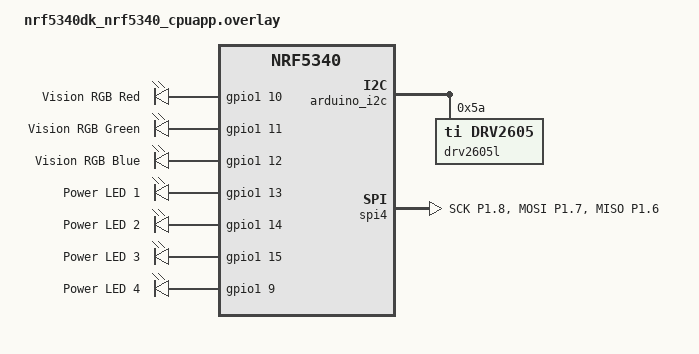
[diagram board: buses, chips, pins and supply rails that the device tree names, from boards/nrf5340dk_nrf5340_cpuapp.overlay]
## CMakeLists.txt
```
cmake_minimum_required(VERSION 3.20.0)

find_package(Zephyr REQUIRED HINTS $ENV{ZEPHYR_BASE})
project(vision_band)

target_sources(app PRIVATE
    src/main.c
    src/haptics.c
    src/rgb_led.c
    src/power_leds.c
    src/camera.c
    src/ble_service.c
)
```

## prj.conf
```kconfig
CONFIG_I2C=y

CONFIG_SPI=y

CONFIG_GPIO=y

CONFIG_SERIAL=y
CONFIG_CONSOLE=y
CONFIG_UART_CONSOLE=y

CONFIG_BT=y
CONFIG_BT_PERIPHERAL=y
CONFIG_BT_DEVICE_NAME="Vision Band"
CONFIG_BT_MAX_CONN=1

CONFIG_LOG=n

# Phase 6C: allow a 247-byte ATT MTU on the application-core host.
# Notification value payload is ATT_MTU - 3 bytes.
CONFIG_BT_L2CAP_TX_MTU=247
CONFIG_BT_BUF_ACL_RX_SIZE=251

# Phase 6C throughput: allow the host to queue multiple ACL packets
# instead of serializing the JPEG through a tiny default TX pool.
CONFIG_BT_BUF_ACL_TX_COUNT=10

# Expose PHY/data-length update APIs and bt_conn_cb callback members.
CONFIG_BT_USER_PHY_UPDATE=y
CONFIG_BT_USER_DATA_LEN_UPDATE=y

# Zephyr requires Event RX count > ACL TX count.
# ACL TX count is 10 for the Phase 6C streaming queue.
CONFIG_BT_BUF_EVT_RX_COUNT=11
```

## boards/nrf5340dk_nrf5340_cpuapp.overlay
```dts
&arduino_i2c {
	status = "okay";

	drv2605l: drv2605l@5a {
		compatible = "ti,drv2605";
		reg = <0x5a>;
		actuator-mode = "ERM";
	};
};

/ {
	aliases {
		vision-red = &vision_red;
		vision-green = &vision_green;
		vision-blue = &vision_blue;
		power-led1 = &power_led1;
		power-led2 = &power_led2;
		power-led3 = &power_led3;
		power-led4 = &power_led4;
	};

	leds {
		compatible = "gpio-leds";

		vision_red: vision_red {
			gpios = <&gpio1 10 GPIO_ACTIVE_HIGH>;
			label = "Vision RGB Red";
		};

		vision_green: vision_green {
			gpios = <&gpio1 11 GPIO_ACTIVE_HIGH>;
			label = "Vision RGB Green";
		};

		vision_blue: vision_blue {
			gpios = <&gpio1 12 GPIO_ACTIVE_HIGH>;
			label = "Vision RGB Blue";
		};
	};
	power_leds {
		compatible = "gpio-leds";

		power_led1: power_led_1 {
			gpios = <&gpio1 13 GPIO_ACTIVE_HIGH>;
			label = "Power LED 1";
		};

		power_led2: power_led_2 {
			gpios = <&gpio1 14 GPIO_ACTIVE_HIGH>;
			label = "Power LED 2";
		};

		power_led3: power_led_3 {
			gpios = <&gpio1 15 GPIO_ACTIVE_HIGH>;
			label = "Power LED 3";
		};

		power_led4: power_led_4 {
			gpios = <&gpio1 9 GPIO_ACTIVE_HIGH>;
			label = "Power LED 4";
		};
	};
};

&arduino_i2c {
	status = "okay";

	drv2605l: drv2605l@5a {
		compatible = "ti,drv2605";
		reg = <0x5a>;
		actuator-mode = "ERM";
	};
};
&pinctrl {
    camera_spi_default: camera_spi_default {
        group1 {
            psels = <NRF_PSEL(SPIM_SCK,  1, 8)>,
                    <NRF_PSEL(SPIM_MOSI, 1, 7)>,
                    <NRF_PSEL(SPIM_MISO, 1, 6)>;
        };
    };

    camera_spi_sleep: camera_spi_sleep {
        group1 {
            psels = <NRF_PSEL(SPIM_SCK,  1, 8)>,
                    <NRF_PSEL(SPIM_MOSI, 1, 7)>,
                    <NRF_PSEL(SPIM_MISO, 1, 6)>;
            low-power-enable;
        };
    };
};

&spi4 {
    compatible = "nordic,nrf-spim";
    status = "okay";

    pinctrl-0 = <&camera_spi_default>;
    pinctrl-1 = <&camera_spi_sleep>;
    pinctrl-names = "default", "sleep";

};
```

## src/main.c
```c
#include <zephyr/kernel.h>
#include <zephyr/sys/printk.h>
#include <zephyr/device.h>
#include <zephyr/drivers/gpio.h>

#include <stdbool.h>
#include <string.h>

#include "power_leds.h"
#include "rgb_led.h"
#include "camera.h"
#include "ble_service.h"
#include "haptics.h"


#define BUTTON_NODE DT_ALIAS(sw0)

static const struct gpio_dt_spec button =
    GPIO_DT_SPEC_GET(BUTTON_NODE, gpios);


#define POLL_MS               10
#define DEBOUNCE_MS           40
#define POWER_PROGRESS_MS     250
#define FULL_HOLD_MS          1500
#define RELEASE_DEBOUNCE_MS   120
#define POWER_ACTION_LOCKOUT_MS 400


static bool system_on = false;
static int64_t capture_lockout_until = 0;


static void wait_for_stable_button_release(void)
{
    int64_t released_at = 0;

    while (1) {

        if (!gpio_pin_get_dt(&button)) {

            if (released_at == 0) {
                released_at = k_uptime_get();
            }

            if ((k_uptime_get() - released_at) >= RELEASE_DEBOUNCE_MS) {
                return;
            }

        }
        else {
            released_at = 0;
        }

        k_msleep(POLL_MS);
    }
}


/*
 * ------------------------------------------------------------------
 * BLE connection-state callback.
 *
 * The RGB status LED is only allowed to show BLE state while the
 * logical Vision Band power state is ON.
 *
 * OFF   -> RGB off
 * ON + disconnected -> white
 * ON + connected    -> blue
 * ------------------------------------------------------------------
 */
static void handle_ble_connection_changed(bool connected)
{
    if (!system_on) {

        rgb_led_off();

        return;
    }


    if (connected) {

        rgb_led_blue();

        printk(
            "Status LED: BLUE (BLE connected)\n"
        );

        /*
         * Phase 6D:
         * Connection confirmation is queued to the dedicated haptic
         * worker thread. It never blocks the BLE callback.
         */
        (void)haptics_play(
            HAPTIC_EVENT_BLE_CONNECTED
        );
    }
    else {

        rgb_led_white();

        printk(
            "Status LED: WHITE (BLE disconnected)\n"
        );
    }
}



/*
 * ------------------------------------------------------------------
 * BLE -> product control bridge.
 *
 * Phase 7B return path:
 *
 * Windows/OpenAI
 *      -> CONTROL_RX "RESULT_READY"
 *      -> ble_service.c
 *      -> this callback
 *      -> asynchronous DRV2605L result-ready haptic
 *
 * This callback executes from the BLE receive context, so it only
 * queues haptic work and returns immediately.
 * ------------------------------------------------------------------
 */
static void handle_ble_command(
    const uint8_t *data,
    size_t length
)
{
    static const char result_ready_command[] =
        "RESULT_READY";


    if (
        length ==
            (sizeof(result_ready_command) - 1) &&
        memcmp(
            data,
            result_ready_command,
            sizeof(result_ready_command) - 1
        ) == 0
    ) {

        printk(
            "BLE command RESULT_READY received\n"
        );

        (void)haptics_play(
            HAPTIC_EVENT_RESULT_READY
        );

        return;
    }


    printk(
        "BLE product command not recognized (%u bytes)\n",
        (unsigned int)length
    );
}


/*
 * ------------------------------------------------------------------
 * Camera -> BLE transport bridge.
 *
 * Camera code knows nothing about GATT.
 * BLE code knows nothing about Arducam.
 * main.c connects the two subsystems.
 * ------------------------------------------------------------------
 */

static int camera_ble_begin(
    uint32_t fifo_length,
    void *context
)
{
    ARG_UNUSED(context);

    return ble_service_image_begin(
        fifo_length
    );
}


static int camera_ble_write(
    const uint8_t *data,
    size_t length,
    void *context
)
{
    ARG_UNUSED(context);

    return ble_service_image_send(
        data,
        length
    );
}


static int camera_ble_end(
    uint32_t jpeg_length,
    void *context
)
{
    ARG_UNUSED(context);

    return ble_service_image_end(
        jpeg_length
    );
}


/*
 * Called by camera.c only after autofocus + sensor capture are complete
 * and a valid JPEG exists in the Arducam FIFO, but before BLE upload.
 *
 * This haptic means exactly: "PHOTO CAPTURED — you can move now."
 */
static void camera_ble_capture_complete(
    void *context
)
{
    ARG_UNUSED(context);

    printk(
        "PHOTO CAPTURED: JPEG is ready in camera FIFO\n"
    );

    (void)haptics_play(
        HAPTIC_EVENT_PHOTO_CAPTURED
    );
}


static const struct camera_stream_sink ble_camera_sink = {
    .begin = camera_ble_begin,
    .write = camera_ble_write,
    .capture_complete = camera_ble_capture_complete,
    .end = camera_ble_end,
    .context = NULL
};


/*
 * ------------------------------------------------------------------
 * Capture one image only when the Vision Band is logically powered on.
 *
 * The camera itself is initialized once at boot. A short BUTTON1 press
 * while system_on == true performs:
 *
 *      autofocus -> one 5MP capture -> JPEG stream over BLE
 *
 * No boot-time capture is performed.
 * ------------------------------------------------------------------
 */
static void handle_short_press(void)
{
    int ret;

    if (k_uptime_get() < capture_lockout_until) {

        printk(
            "Short press ignored: power transition lockout\n"
        );

        return;
    }

    if (!system_on) {

        printk(
            "Short press ignored: system is OFF\n"
        );

        power_leds_off();
        rgb_led_off();

        return;
    }


    if (!ble_service_is_connected()) {

        printk(
            "Capture ignored: BLE central is not connected\n"
        );

        (void)haptics_play(
            HAPTIC_EVENT_ERROR
        );

        return;
    }


    if (!ble_service_image_ready()) {

        printk(
            "Capture ignored: BLE image receiver is not subscribed\n"
        );

        (void)haptics_play(
            HAPTIC_EVENT_ERROR
        );

        return;
    }


    /*
     * Keep the ON indicators asserted while the camera is working.
     */
    power_leds_all_on();
    rgb_led_blue();


    printk(
        "BUTTON1 short press: starting BLE camera capture\n"
    );

    ret =
        camera_capture_and_stream(
            &ble_camera_sink
        );

    if (ret < 0) {

        printk(
            "Camera capture/export failed: %d\n",
            ret
        );

        (void)haptics_play(
            HAPTIC_EVENT_ERROR
        );

        /*
         * The logical system remains ON even if a capture fails.
         */
        power_leds_all_on();

        if (ble_service_is_connected()) {

            rgb_led_blue();
        }
        else {

            rgb_led_white();
        }

        return;
    }


    printk(
        "Camera JPEG BLE transfer complete\n"
    );

    /*
     * Restore normal powered-on indicators.
     */
    power_leds_all_on();

    if (ble_service_is_connected()) {

        rgb_led_blue();
    }
    else {

        rgb_led_white();
    }
}


int main(void)
{
    int64_t press_start;
    int64_t held_ms;
    bool long_press_handled;


    /*
     * ==============================================================
     * Power LEDs
     * ==============================================================
     */

    if (power_leds_init() < 0) {

        printk(
            "Power LED init failed\n"
        );

        return 0;
    }


    /*
     * ==============================================================
     * RGB status LED
     * ==============================================================
     */

    if (rgb_led_init() < 0) {

        printk(
            "Status LED init failed\n"
        );

        return 0;
    }


    /*
     * ==============================================================
     * Haptics
     * ==============================================================
     *
     * The DRV2605L worker owns vibration timing on its own Zephyr
     * thread. Camera/BLE code only enqueue semantic haptic events.
     */

    if (haptics_init() < 0) {

        /*
         * Haptics are user feedback, not a prerequisite for camera/BLE
         * operation. Keep the rest of the Vision Band alive if the
         * motor driver is temporarily unavailable.
         */
        printk(
            "Haptics init failed; continuing without vibration\n"
        );
    }


    /*
     * ==============================================================
     * Camera initialization
     * ==============================================================
     *
     * Initialize the camera interface once at firmware startup.
     * Do NOT capture here.
     *
     * Actual image capture is triggered later by a short BUTTON1
     * press, and only while system_on == true.
     */

    if (camera_init() < 0) {

        printk(
            "Camera init failed\n"
        );

        return 0;
    }


    printk(
        "Camera interface initialized\n"
    );


    /*
     * ==============================================================
     * Bluetooth
     * ==============================================================
     */

    if (
        ble_service_init(
            handle_ble_connection_changed,
            handle_ble_command
        ) < 0
    ) {

        /*
         * BLE failure must not kill the button/camera runtime.
         * The Vision Band can still operate locally.
         */
        printk(
            "BLE init failed; continuing without BLE\n"
        );
    }


    /*
     * ==============================================================
     * Button
     * ==============================================================
     */

    if (!gpio_is_ready_dt(&button)) {

        printk(
            "Button device not ready\n"
        );

        return 0;
    }


    if (
        gpio_pin_configure_dt(
            &button,
            GPIO_INPUT
        ) < 0
    ) {

        printk(
            "Button configuration failed\n"
        );

        return 0;
    }


    /*
     * Initial logical system state.
     */
    system_on = false;

    power_leds_off();
    rgb_led_off();


    printk(
        "Vision Band controller ready\n"
    );

    printk(
        "System state: OFF\n"
    );

    printk(
        "Long press BUTTON1: power ON/OFF\n"
    );

    printk(
        "Short press BUTTON1 while ON: capture image\n"
    );


    /*
     * ==============================================================
     * Main runtime
     * ==============================================================
     */

    while (1) {


        if (gpio_pin_get_dt(&button)) {

            press_start =
                k_uptime_get();

            long_press_handled =
                false;


            /*
             * Button remains pressed.
             */
            while (
                gpio_pin_get_dt(&button)
            ) {

                held_ms =
                    k_uptime_get()
                    -
                    press_start;


                /*
                 * Do not start the power animation immediately.
                 *
                 * This prevents a normal short camera press from
                 * visibly draining/filling the power LEDs.
                 */
                if (
                    held_ms >=
                    POWER_PROGRESS_MS
                ) {

                    /*
                     * OFF -> fill LEDs.
                     */
                    if (!system_on) {

                        power_leds_show_power_on_progress(
                            held_ms
                        );
                    }

                    /*
                     * ON -> drain LEDs.
                     */
                    else {

                        power_leds_show_power_off_progress(
                            held_ms
                        );
                    }
                }


                /*
                 * Long press reached: toggle logical power state.
                 */
                if (
                    held_ms >=
                    FULL_HOLD_MS
                ) {

                    long_press_handled =
                        true;


                    if (!system_on) {

                        system_on =
                            true;

                        power_leds_all_on();
                        rgb_led_white();


                        printk(
                            "System state: ON\n"
                        );

                        printk(
                            "Camera short-press capture enabled\n"
                        );


                        /*
                         * Logical power ON is what makes the product
                         * discoverable/connectable over BLE.
                         */
                        if (
                            ble_service_start() < 0
                        ) {

                            printk(
                                "BLE could not start; local operation remains available\n"
                            );
                        }
                    }
                    else {

                        /*
                         * Set logical power OFF before requesting the
                         * BLE disconnect so its callback keeps the RGB
                         * LED off and does not restart advertising.
                         */
                        system_on =
                            false;


                        (void)ble_service_stop();


                        power_leds_off();
                        rgb_led_off();


                        printk(
                            "System state: OFF\n"
                        );

                        printk(
                            "Camera short-press capture disabled\n"
                        );
                    }


                    /*
                     * Do not let the release/bounce from a power hold
                     * become a camera short press.
                     */
                    wait_for_stable_button_release();

                    capture_lockout_until =
                        k_uptime_get()
                        +
                        POWER_ACTION_LOCKOUT_MS;


                    break;
                }


                k_msleep(
                    POLL_MS
                );
            }


            /*
             * If the press did not become a long press, it is a
             * short-press action.
             */
            if (!long_press_handled) {

                held_ms =
                    k_uptime_get()
                    -
                    press_start;


                /*
                 * Ignore switch bounce / accidental ultra-short pulses.
                 */
                if (
                    held_ms >=
                    DEBOUNCE_MS
                ) {

                    handle_short_press();
                }
                else {

                    /*
                     * Restore whichever visual state was active.
                     */
                    if (system_on) {

                        power_leds_all_on();

                        if (ble_service_is_connected()) {

                            rgb_led_blue();
                        }
                        else {

                            rgb_led_white();
                        }
                    }
                    else {

                        power_leds_off();
                        rgb_led_off();
                    }
                }
            }


            /*
             * Small post-release debounce.
             */
            k_msleep(
                50
            );
        }


        k_msleep(
            POLL_MS
        );
    }


    return 0;
}
```

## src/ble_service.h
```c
#ifndef BLE_SERVICE_H
#define BLE_SERVICE_H

#include <stdbool.h>
#include <stddef.h>
#include <stdint.h>

/*
 * Product-level callbacks.
 *
 * ble_service.c owns the BLE protocol only. Product behaviors such as
 * LEDs and haptics remain in main.c.
 */
typedef void (*ble_connection_changed_cb_t)(bool connected);

typedef void (*ble_command_received_cb_t)(
    const uint8_t *data,
    size_t length
);

int ble_service_init(
    ble_connection_changed_cb_t connection_changed_cb,
    ble_command_received_cb_t command_received_cb
);

int ble_service_start(void);

int ble_service_stop(void);

bool ble_service_is_connected(void);

bool ble_service_is_active(void);

/*
 * True only when the central is connected AND subscribed to the
 * dedicated image notification characteristic.
 */
bool ble_service_image_ready(void);

/*
 * Phase 6C image transport.
 *
 * Protocol on IMAGE_TX:
 *
 *   0x01 + uint32_le fifo_length
 *       image start
 *
 *   0x02 + uint32_le sequence + JPEG bytes
 *       image data
 *
 *   0x03 + uint32_le jpeg_length + uint32_le packet_count
 *       image end
 */
int ble_service_image_begin(
    uint32_t fifo_length
);

int ble_service_image_send(
    const uint8_t *data,
    size_t length
);

int ble_service_image_end(
    uint32_t jpeg_length
);

#endif
```

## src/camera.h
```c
#ifndef CAMERA_H
#define CAMERA_H

#include <stddef.h>
#include <stdint.h>

struct camera_stream_sink {
    int (*begin)(
        uint32_t fifo_length,
        void *context
    );

    int (*write)(
        const uint8_t *data,
        size_t length,
        void *context
    );

    /*
     * Optional event hook fired after autofocus + sensor capture are
     * complete and a valid JPEG is present in the Arducam FIFO, but
     * BEFORE BLE transport starts.
     *
     * This is the correct point for the wearable's "photo captured"
     * haptic: the user can stop holding the camera still, while JPEG
     * transmission continues independently.
     */
    void (*capture_complete)(
        void *context
    );

    int (*end)(
        uint32_t jpeg_length,
        void *context
    );

    void *context;
};

int camera_init(void);

int camera_capture_test(void);

/*
 * Legacy COM4 debug path retained for bench diagnostics.
 */
int camera_dump_jpeg_binary(void);

int camera_capture_and_dump(void);

/*
 * Capture one high-quality 5MP JPEG and stream it through a
 * transport-independent sink.
 *
 * The camera layer:
 *   autofocuses
 *   captures
 *   reads the Arducam FIFO
 *   strips FIFO padding after JPEG FF D9
 *
 * The transport layer decides what to do with the JPEG bytes.
 */
int camera_capture_and_stream(
    const struct camera_stream_sink *sink
);

#endif
```

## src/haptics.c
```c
#include <zephyr/kernel.h>
#include <zephyr/device.h>
#include <zephyr/devicetree.h>
#include <zephyr/drivers/i2c.h>
#include <zephyr/sys/printk.h>

#include <errno.h>
#include <stdbool.h>
#include <stdint.h>

#include "haptics.h"


/*
 * ------------------------------------------------------------------
 * DRV2605L hardware binding
 * ------------------------------------------------------------------
 *
 * Existing Vision Band overlay:
 *
 * &arduino_i2c {
 *     status = "okay";
 *
 *     drv2605l: drv2605l@5a {
 *         compatible = "ti,drv2605";
 *         reg = <0x5a>;
 *         actuator-mode = "ERM";
 *     };
 * };
 *
 * SDA = P1.02
 * SCL = P1.03
 */
#define DRV2605_NODE DT_NODELABEL(drv2605l)

#if !DT_NODE_EXISTS(DRV2605_NODE)
#error "Vision Band DRV2605L Devicetree node 'drv2605l' is missing"
#endif

static const struct i2c_dt_spec drv2605 =
    I2C_DT_SPEC_GET(DRV2605_NODE);


/*
 * ------------------------------------------------------------------
 * DRV2605L registers used by the already-validated Vision Band RTP path
 * ------------------------------------------------------------------
 */
#define DRV2605_REG_STATUS       0x00
#define DRV2605_REG_MODE         0x01
#define DRV2605_REG_RTP_INPUT    0x02

#define DRV2605_MODE_RTP         0x05

/*
 * Previously validated ERM drive level on the Vision Band prototype.
 */
#define HAPTIC_RTP_LEVEL         0x7F


/*
 * ------------------------------------------------------------------
 * Product haptic timings
 * ------------------------------------------------------------------
 */
#define HAPTIC_CONNECT_MS        100
#define HAPTIC_CAPTURE_MS        150
#define HAPTIC_SUCCESS_MS        150
#define HAPTIC_SUCCESS_GAP_MS    100
#define HAPTIC_RESULT_MS         250
#define HAPTIC_ERROR_MS          500


/*
 * ------------------------------------------------------------------
 * Dedicated asynchronous haptic worker
 * ------------------------------------------------------------------
 *
 * The queue is deliberately small. Haptic feedback is product-state
 * feedback, not a data stream. The worker owns all vibration sleeps so
 * the main camera/BLE path remains free to sustain the 6C.5 throughput.
 */
K_MSGQ_DEFINE(
    haptic_event_queue,
    sizeof(enum haptics_event),
    8,
    4
);

K_THREAD_STACK_DEFINE(
    haptic_worker_stack,
    1024
);

static struct k_thread haptic_worker_thread;

static bool haptics_ready = false;


/*
 * ------------------------------------------------------------------
 * Low-level RTP helpers
 * ------------------------------------------------------------------
 */

static int drv2605_set_rtp(
    uint8_t level
)
{
    return i2c_reg_write_byte_dt(
        &drv2605,
        DRV2605_REG_RTP_INPUT,
        level
    );
}


static int haptic_pulse(
    uint32_t duration_ms
)
{
    int ret;


    ret =
        drv2605_set_rtp(
            HAPTIC_RTP_LEVEL
        );

    if (ret < 0) {

        printk(
            "Haptics: RTP start failed: %d\n",
            ret
        );

        return ret;
    }


    k_msleep(
        duration_ms
    );


    ret =
        drv2605_set_rtp(
            0x00
        );

    if (ret < 0) {

        printk(
            "Haptics: RTP stop failed: %d\n",
            ret
        );

        return ret;
    }


    return 0;
}


static void play_event(
    enum haptics_event event
)
{
    switch (event) {


        case HAPTIC_EVENT_BLE_CONNECTED:

            (void)haptic_pulse(
                HAPTIC_CONNECT_MS
            );

            break;


        case HAPTIC_EVENT_PHOTO_CAPTURED:

            (void)haptic_pulse(
                HAPTIC_CAPTURE_MS
            );

            break;


        case HAPTIC_EVENT_IMAGE_SENT:

            (void)haptic_pulse(
                HAPTIC_SUCCESS_MS
            );

            k_msleep(
                HAPTIC_SUCCESS_GAP_MS
            );

            (void)haptic_pulse(
                HAPTIC_SUCCESS_MS
            );

            break;


        /*
         * Reserved for the next software/API phase:
         *
         * iPhone / PC processes the image, returns a result-ready control
         * command over BLE, and the Vision Band turns that command into
         * tactile confirmation here.
         */
        case HAPTIC_EVENT_RESULT_READY:

            (void)haptic_pulse(
                HAPTIC_RESULT_MS
            );

            break;


        case HAPTIC_EVENT_ERROR:

            (void)haptic_pulse(
                HAPTIC_ERROR_MS
            );

            break;


        default:

            printk(
                "Haptics: unknown event %d\n",
                event
            );

            break;
    }
}


static void haptic_worker(
    void *p1,
    void *p2,
    void *p3
)
{
    enum haptics_event event;


    ARG_UNUSED(p1);
    ARG_UNUSED(p2);
    ARG_UNUSED(p3);


    while (1) {

        if (
            k_msgq_get(
                &haptic_event_queue,
                &event,
                K_FOREVER
            ) == 0
        ) {

            play_event(
                event
            );
        }
    }
}


/*
 * ------------------------------------------------------------------
 * Public API
 * ------------------------------------------------------------------
 */

int haptics_init(void)
{
    int ret;
    uint8_t status = 0;


    if (!device_is_ready(drv2605.bus)) {

        printk(
            "Haptics: I2C bus not ready\n"
        );

        return -ENODEV;
    }


    /*
     * Read STATUS once as an actual I2C communication check.
     */
    ret =
        i2c_reg_read_byte_dt(
            &drv2605,
            DRV2605_REG_STATUS,
            &status
        );

    if (ret < 0) {

        printk(
            "Haptics: DRV2605L not responding: %d\n",
            ret
        );

        return ret;
    }


    printk(
        "Haptics: DRV2605L STATUS = 0x%02X\n",
        status
    );


    /*
     * Real-Time Playback mode. This is the same direct mode that was
     * already validated on the Vision Band ERM motor.
     */
    ret =
        i2c_reg_write_byte_dt(
            &drv2605,
            DRV2605_REG_MODE,
            DRV2605_MODE_RTP
        );

    if (ret < 0) {

        printk(
            "Haptics: failed to enter RTP mode: %d\n",
            ret
        );

        return ret;
    }


    /*
     * Always begin with the motor stopped.
     */
    ret =
        drv2605_set_rtp(
            0x00
        );

    if (ret < 0) {

        printk(
            "Haptics: failed to clear RTP input: %d\n",
            ret
        );

        return ret;
    }


    k_thread_create(
        &haptic_worker_thread,
        haptic_worker_stack,
        K_THREAD_STACK_SIZEOF(haptic_worker_stack),
        haptic_worker,
        NULL,
        NULL,
        NULL,
        7,
        0,
        K_NO_WAIT
    );


    k_thread_name_set(
        &haptic_worker_thread,
        "vision_haptics"
    );


    haptics_ready =
        true;


    printk(
        "Haptics: asynchronous worker ready\n"
    );


    return 0;
}


int haptics_play(
    enum haptics_event event
)
{
    int ret;


    if (!haptics_ready) {

        return -ENODEV;
    }


    ret =
        k_msgq_put(
            &haptic_event_queue,
            &event,
            K_NO_WAIT
        );

    if (ret < 0) {

        printk(
            "Haptics: event queue full, dropped event %d\n",
            event
        );
    }


    return ret;
}
```

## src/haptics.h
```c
#ifndef HAPTICS_H
#define HAPTICS_H

/*
 * Vision Band semantic haptic events.
 *
 * Callers describe product events instead of motor timing. This keeps
 * main.c / BLE / camera code independent from DRV2605L register details.
 */
enum haptics_event {
    HAPTIC_EVENT_BLE_CONNECTED = 0,
    HAPTIC_EVENT_PHOTO_CAPTURED,
    HAPTIC_EVENT_IMAGE_SENT,
    HAPTIC_EVENT_RESULT_READY,
    HAPTIC_EVENT_ERROR
};

/*
 * Initializes the DRV2605L RTP path and starts the dedicated haptic worker.
 */
int haptics_init(void);

/*
 * Non-blocking event submission.
 *
 * Returns immediately after queueing the event. Motor timing and k_msleep()
 * calls happen only on the dedicated haptic worker thread, so high-throughput
 * BLE image transfer is never intentionally stalled by vibration timing.
 */
int haptics_play(enum haptics_event event);

#endif
```

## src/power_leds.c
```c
#include "power_leds.h"

#include <zephyr/device.h>
#include <zephyr/drivers/gpio.h>

#define LED1_NODE DT_ALIAS(power_led1)
#define LED2_NODE DT_ALIAS(power_led2)
#define LED3_NODE DT_ALIAS(power_led3)
#define LED4_NODE DT_ALIAS(power_led4)

#define LED_STEP_MS 375

static const struct gpio_dt_spec led1 =
    GPIO_DT_SPEC_GET(LED1_NODE, gpios);

static const struct gpio_dt_spec led2 =
    GPIO_DT_SPEC_GET(LED2_NODE, gpios);

static const struct gpio_dt_spec led3 =
    GPIO_DT_SPEC_GET(LED3_NODE, gpios);

static const struct gpio_dt_spec led4 =
    GPIO_DT_SPEC_GET(LED4_NODE, gpios);

int power_leds_init(void)
{
    if (!gpio_is_ready_dt(&led1) ||
        !gpio_is_ready_dt(&led2) ||
        !gpio_is_ready_dt(&led3) ||
        !gpio_is_ready_dt(&led4)) {
        return -1;
    }

    if (gpio_pin_configure_dt(&led1, GPIO_OUTPUT_INACTIVE) < 0 ||
        gpio_pin_configure_dt(&led2, GPIO_OUTPUT_INACTIVE) < 0 ||
        gpio_pin_configure_dt(&led3, GPIO_OUTPUT_INACTIVE) < 0 ||
        gpio_pin_configure_dt(&led4, GPIO_OUTPUT_INACTIVE) < 0) {
        return -1;
    }

    return 0;
}

void power_leds_set(int l1, int l2, int l3, int l4)
{
    gpio_pin_set_dt(&led1, l1);
    gpio_pin_set_dt(&led2, l2);
    gpio_pin_set_dt(&led3, l3);
    gpio_pin_set_dt(&led4, l4);
}

void power_leds_off(void)
{
    power_leds_set(0, 0, 0, 0);
}

void power_leds_all_on(void)
{
    power_leds_set(1, 1, 1, 1);
}

void power_leds_show_power_on_progress(int64_t held_ms)
{
    if (held_ms < LED_STEP_MS) {
        power_leds_set(1, 0, 0, 0);
    }
    else if (held_ms < (LED_STEP_MS * 2)) {
        power_leds_set(1, 1, 0, 0);
    }
    else if (held_ms < (LED_STEP_MS * 3)) {
        power_leds_set(1, 1, 1, 0);
    }
    else {
        power_leds_set(1, 1, 1, 1);
    }
}

void power_leds_show_power_off_progress(int64_t held_ms)
{
    if (held_ms < LED_STEP_MS) {
        power_leds_set(1, 1, 1, 1);
    }
    else if (held_ms < (LED_STEP_MS * 2)) {
        power_leds_set(1, 1, 1, 0);
    }
    else if (held_ms < (LED_STEP_MS * 3)) {
        power_leds_set(1, 1, 0, 0);
    }
    else {
        power_leds_set(1, 0, 0, 0);
    }
}
```

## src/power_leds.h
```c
#ifndef POWER_LEDS_H
#define POWER_LEDS_H

#include <stdint.h>

int power_leds_init(void);

void power_leds_off(void);
void power_leds_all_on(void);
void power_leds_set(int led1, int led2, int led3, int led4);

void power_leds_show_power_on_progress(int64_t held_ms);
void power_leds_show_power_off_progress(int64_t held_ms);

#endif
```

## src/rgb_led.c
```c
#include "rgb_led.h"

#include <zephyr/device.h>
#include <zephyr/drivers/gpio.h>

#define RED_NODE   DT_ALIAS(vision_red)
#define GREEN_NODE DT_ALIAS(vision_green)
#define BLUE_NODE  DT_ALIAS(vision_blue)

static const struct gpio_dt_spec red =
    GPIO_DT_SPEC_GET(RED_NODE, gpios);

static const struct gpio_dt_spec green =
    GPIO_DT_SPEC_GET(GREEN_NODE, gpios);

static const struct gpio_dt_spec blue =
    GPIO_DT_SPEC_GET(BLUE_NODE, gpios);

static void set_rgb(int r, int g, int b)
{
    gpio_pin_set_dt(&red, r);
    gpio_pin_set_dt(&green, g);
    gpio_pin_set_dt(&blue, b);
}

int rgb_led_init(void)
{
    if (!gpio_is_ready_dt(&red) ||
        !gpio_is_ready_dt(&green) ||
        !gpio_is_ready_dt(&blue)) {
        return -1;
    }

    if (gpio_pin_configure_dt(&red, GPIO_OUTPUT_INACTIVE) < 0 ||
        gpio_pin_configure_dt(&green, GPIO_OUTPUT_INACTIVE) < 0 ||
        gpio_pin_configure_dt(&blue, GPIO_OUTPUT_INACTIVE) < 0) {
        return -1;
    }

    return 0;
}

void rgb_led_off(void)
{
    set_rgb(0, 0, 0);
}

void rgb_led_red(void)
{
    set_rgb(1, 0, 0);
}

void rgb_led_green(void)
{
    set_rgb(0, 1, 0);
}

void rgb_led_blue(void)
{
    set_rgb(0, 0, 1);
}

void rgb_led_white(void)
{
    set_rgb(1, 1, 1);
}
```

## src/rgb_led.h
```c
#ifndef RGB_LED_H
#define RGB_LED_H

int rgb_led_init(void);

void rgb_led_off(void);
void rgb_led_red(void);
void rgb_led_green(void);
void rgb_led_blue(void);
void rgb_led_white(void);

#endif
```
